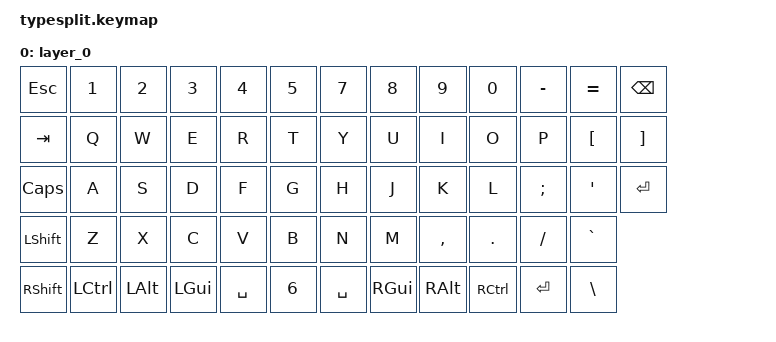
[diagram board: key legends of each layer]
#include <behaviors/mouse_keys.dtsi>
#include <behaviors.dtsi>
#include <dt-bindings/zmk/bt.h>
#include <dt-bindings/zmk/keys.h>
#include <dt-bindings/zmk/mouse.h>
#include <dt-bindings/zmk/outputs.h>

&lt {
    tapping-term-ms = <240>;
    flavor = "balanced";
    quick-tap-ms = <150>;
};

&mt {
    global-quick-tap;
    flavor = "tap-preferred";
    tapping-term-ms = <200>;
};

&sk {
    release-after-ms = <2000>;
    quick-release;
};

/ {
    macros {
        bootload_macro: bootload_macro {
            compatible = "zmk,behavior-macro";
            #binding-cells = <0>;
            bindings = <&bootloader>;
            label = "BOOTLOAD_MACRO";
        };
    };

    combos {
        compatible = "zmk,combos";

        combo_esc {
            timeout-ms = <50>;
            key-positions = <0 1>;
            bindings = <&kp ESC>;
        };

        left_bkt {
            bindings = <&kp LEFT_BRACKET>;
            key-positions = <2 3>;
            timeout-ms = <50>;
        };

        right_bkt {
            bindings = <&kp RIGHT_BRACKET>;
            key-positions = <7 6>;
            timeout-ms = <50>;
        };

        left_par {
            bindings = <&kp LEFT_PARENTHESIS>;
            key-positions = <12 13>;
            timeout-ms = <50>;
        };

        right_par {
            bindings = <&kp RIGHT_PARENTHESIS>;
            key-positions = <16 17>;
            timeout-ms = <50>;
        };

        left_brace {
            bindings = <&kp LEFT_BRACE>;
            key-positions = <22 23>;
            timeout-ms = <50>;
        };

        right_brace {
            bindings = <&kp RIGHT_BRACE>;
            key-positions = <26 27>;
            timeout-ms = <50>;
        };

        bac {
            bindings = <&kp BACKSLASH>;
            key-positions = <5 6>;
            timeout-ms = <50>;
        };

        pipe {
            bindings = <&kp PIPE>;
            key-positions = <3 4>;
            timeout-ms = <50>;
        };
    };

    behaviors {
        hm: homerow_mods {
            compatible = "zmk,behavior-hold-tap";
            label = "HOMEROW_MODS";
            bindings = <&kp>, <&kp>;

            #binding-cells = <2>;
            tapping-term-ms = <200>;
            quick-tap-ms = <180>;
            flavor = "tap-preferred";
        };

        ltq: ltq {
            compatible = "zmk,behavior-hold-tap";
            label = "LTQ";
            bindings = <&mo>, <&kp>;

            #binding-cells = <2>;
            tapping-term-ms = <200>;
            quick-tap-ms = <180>;
        };

        as: auto_shift {
            compatible = "zmk,behavior-hold-tap";
            label = "AUTO_SHIFT";
            bindings = <&kp>, <&kp>;

            #binding-cells = <2>;
            tapping-term-ms = <135>;
            quick-tap-ms = <0>;
        };
    };

keymap {
        compatible = "zmk,keymap";

        layer_0 {
            bindings = <
&kp ESC    &kp N1     &kp N2    &kp N3    &kp N4     &kp N5    &kp N7     &kp N8    &kp N9     &kp N0     &kp MINUS  &kp EQUAL  &kp BSPC
&kp TAB    &kp Q      &kp W     &kp E     &kp R      &kp T     &kp Y      &kp U     &kp I      &kp O      &kp P      &kp LBKT   &kp RBKT
&kp CAPS   &kp A      &kp S     &kp D     &kp F      &kp G     &kp H      &kp J     &kp K      &kp L      &kp SEMI   &kp APOS   &kp ENTER
&kp LSHFT  &kp Z      &kp X     &kp C     &kp V      &kp B     &kp N      &kp M     &kp COMMA  &kp DOT    &kp FSLH   &kp GRAVE
&kp RSHFT  &kp LCTRL  &kp LALT  &kp LGUI  &kp SPACE  &kp N6    &kp SPACE  &kp RGUI  &kp RALT   &kp RCTRL  &kp ENTER  &kp BSLH
            >;
        };
    };
};
